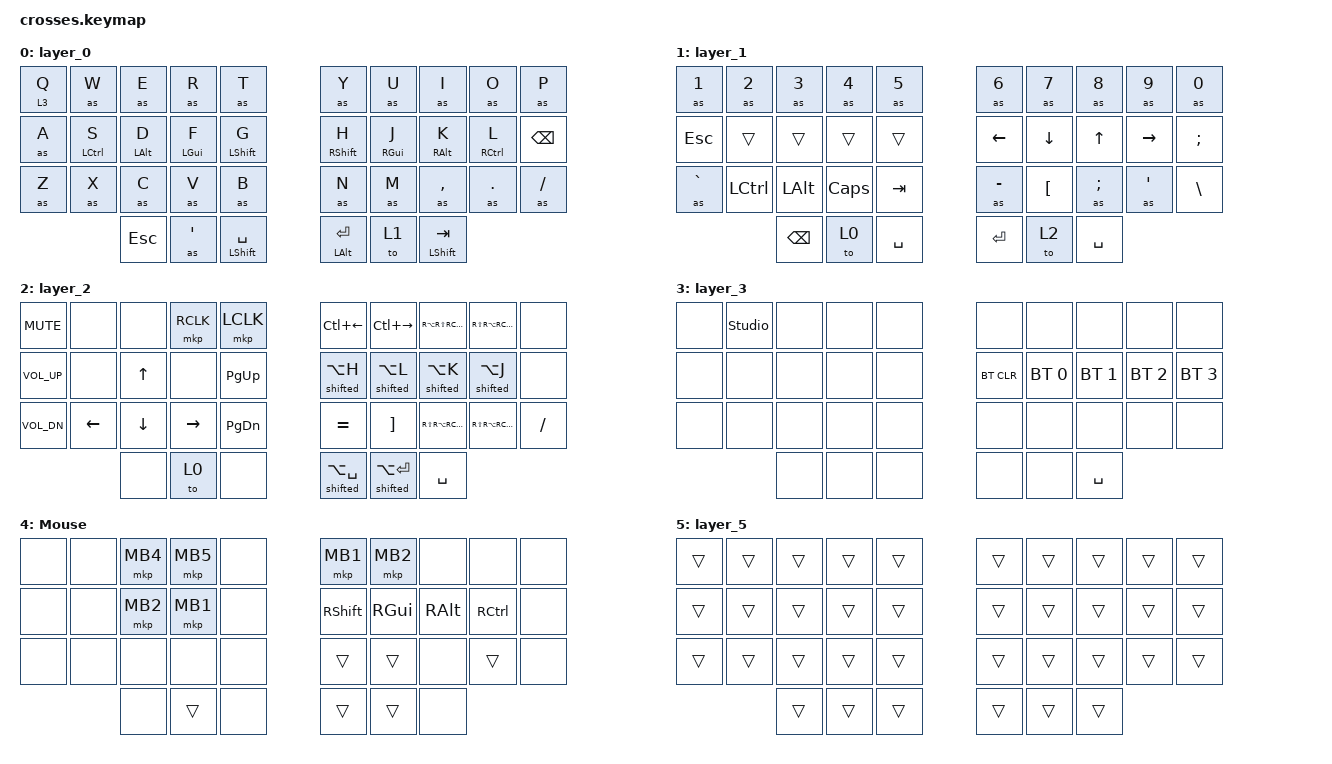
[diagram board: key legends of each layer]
#include <behaviors.dtsi>
#include <dt-bindings/zmk/bt.h>
#include <dt-bindings/zmk/keys.h>
#include <dt-bindings/zmk/pointing.h>

/ {
    behaviors {
        as_ht: autoshift_hold_tap {
            compatible = "zmk,behavior-hold-tap";
            label = "AUTOSHIFT_HOLD_TAP";
            #binding-cells = <2>;
            tapping-term-ms = <350>;
            bindings = <&shifted>, <&kp>;

            quick_tap_ms = <0>;
            flavor = "tap-preferred";
        };
    };

    macros {
        shifted: macro_shifted_kp {
            #binding-cells = <1>;
            label = "MACRO_SHIFTED_KP";
            compatible = "zmk,behavior-macro-one-param";
            bindings =
                <&macro_press>,
                <&kp LSHFT &macro_param_1to1>,
                <&macro_tap>,
                <&kp MACRO_PLACEHOLDER>,
                <&macro_release>,
                <&kp LSHFT>;
        };

        as: autoshift {
            compatible = "zmk,behavior-macro-one-param";
            #binding-cells = <1>;
            label = "AUTOSHIFT_KP";
            bindings =
                <&macro_press>,
                <&macro_param_1to1 &macro_param_1to2 &as_ht MACRO_PLACEHOLDER MACRO_PLACEHOLDER>,
                <&macro_pause_for_release>,
                <&macro_release>,
                <&macro_param_1to1 &macro_param_1to2 &as_ht MACRO_PLACEHOLDER MACRO_PLACEHOLDER>;
        };
    };
};

&lt {
    tapping-term-ms = <200>;
    flavor = "balanced";
    quick-tap-ms = <150>;
};

/ {
    combos {
        compatible = "zmk,combos";

        layer1-combo-left {
            bindings = <&mo 1>;
            key-positions = <24 32>;
        };

        layer2-combo-left {
            bindings = <&mo 2>;
            key-positions = <23 32>;
        };

        layer1-combo-right {
            bindings = <&mo 1>;
            key-positions = <25 33>;
        };

        layer2-combo-right {
            bindings = <&mo 2>;
            key-positions = <26 33>;
        };

        shiftenter {
            bindings = <&shifted ENTER>;
            key-positions = <32 33>;
        };
    };

    macros {
    };

    behaviors {
    };

    keymap {
        compatible = "zmk,keymap";

        layer_0 {
            bindings = <
&lt 3 Q  &as W               &as E           &as R           &as T                 &as Y               &as U            &as I               &as O                &as P
&as A    &mt LEFT_CONTROL S  &mt LEFT_ALT D  &mt LEFT_GUI F  &mt LEFT_SHIFT G      &mt RIGHT_SHIFT H   &mt RIGHT_GUI J  &mt RIGHT_ALT K     &mt RIGHT_CONTROL L  &kp BACKSPACE
&as Z    &as X               &as C           &as V           &as B                 &as N               &as M            &as COMMA           &as DOT              &as FSLH
                             &kp ESCAPE      &as APOS        &mt LEFT_SHIFT SPACE  &mt LEFT_ALT ENTER  &to 1            &mt LEFT_SHIFT TAB
            >;
        };

        layer_1 {
            bindings = <
&as NUMBER_1  &as NUMBER_2  &as NUMBER_3   &as NUMBER_4  &as NUMBER_5  &as NUMBER_6    &as N7            &as N8         &as NUMBER_9     &as NUMBER_0
&kp ESCAPE    &trans        &trans         &trans        &trans        &kp LEFT_ARROW  &kp DOWN_ARROW    &kp UP_ARROW   &kp RIGHT_ARROW  &kp SEMICOLON
&as GRAVE     &kp LCTRL     &kp LEFT_ALT   &kp CAPS      &kp TAB       &as MINUS       &kp LEFT_BRACKET  &as SEMICOLON  &as SQT          &kp BACKSLASH
                            &kp BACKSPACE  &to 0         &kp SPACE     &kp ENTER       &to 2             &kp SPACE
            >;
        };

        layer_2 {
            bindings = <
&kp K_MUTE    &none           &none           &mkp RCLK        &mkp LCLK      &kp LC(LEFT)        &kp LC(RIGHT)       &kp RA(RS(RC(LEFT)))  &kp RS(RA(RC(RIGHT)))  &none
&kp C_VOL_UP  &none           &kp UP_ARROW    &none            &kp PAGE_UP    &shifted LA(H)      &shifted LA(L)      &shifted LA(K)        &shifted LA(J)         &none
&kp C_VOL_DN  &kp LEFT_ARROW  &kp DOWN_ARROW  &kp RIGHT_ARROW  &kp PAGE_DOWN  &kp EQUAL           &kp RBKT            &kp RS(RA(RC(H)))     &kp RS(RA(RC(L)))      &kp SLASH
                              &none           &to 0            &none          &shifted LA(SPACE)  &shifted LA(ENTER)  &kp SPACE
            >;
        };

        layer_3 {
            bindings = <
&none  &studio_unlock  &none  &none  &none  &none       &none         &none         &none         &none
&none  &none           &none  &none  &none  &bt BT_CLR  &bt BT_SEL 0  &bt BT_SEL 1  &bt BT_SEL 2  &bt BT_SEL 3
&none  &none           &none  &none  &none  &none       &none         &none         &none         &none
                       &none  &none  &none  &none       &none         &kp SPACE
            >;
        };

        Mouse {
            bindings = <
&none  &none  &mkp MB4  &mkp MB5  &none  &mkp MB1         &mkp MB2       &none          &none              &none
&none  &none  &mkp MB2  &mkp MB1  &none  &kp RIGHT_SHIFT  &kp RIGHT_GUI  &kp RIGHT_ALT  &kp RIGHT_CONTROL  &none
&none  &none  &none     &none     &none  &trans           &trans         &none          &trans             &none
              &none     &trans    &none  &trans           &trans         &none
            >;
        };

        layer_5 {
            bindings = <
&trans  &trans  &trans  &trans  &trans  &trans  &trans  &trans  &trans  &trans
&trans  &trans  &trans  &trans  &trans  &trans  &trans  &trans  &trans  &trans
&trans  &trans  &trans  &trans  &trans  &trans  &trans  &trans  &trans  &trans
                &trans  &trans  &trans  &trans  &trans  &trans
            >;
        };
    };
};
